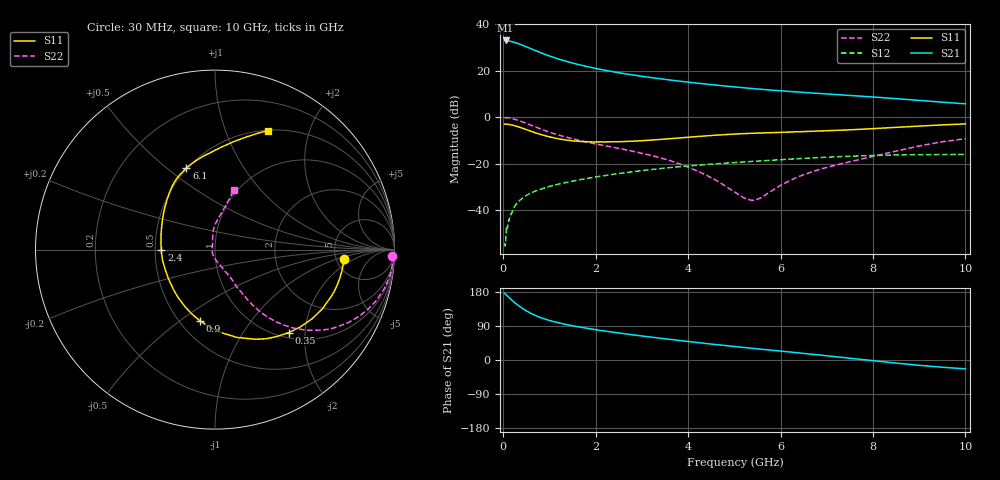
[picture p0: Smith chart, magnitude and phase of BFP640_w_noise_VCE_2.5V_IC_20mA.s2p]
! Infineon Technologies  Discrete & RF Semiconductors
! BFP640
! VCE =  2.5 V,  IC =  20 mA
! Common Emitter S-Parameters:  Apr 2013
# GHz  S  MA  R  50
!  f  S11  S21  S12  S22
! GHz  MAG  ANG  MAG  ANG  MAG  ANG  MAG  ANG
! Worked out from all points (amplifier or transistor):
!   99 points, 30 MHz to 10 GHz, reference 50 ohm
!   highest |S21| = 33.1 dB at 50 MHz (marker M1)
!   |S21| within 3 dB of that: start of sweep to 533.5 MHz
!   unconditionally stable (mu >= 1): 2.75 GHz to end of sweep
!   at 350 MHz: K = 0.27, MSG = 33.7 dB, |S12| = -35.8 dB
!   at 3.5 GHz: K = 1.04, MAG = 17.9 dB, |S12| = -21.8 dB
!   at 10 GHz: K = 1.07, MAG = 9.3 dB, |S12| = -15.9 dB
!   lowest NFmin = 0.85 dB at 450 MHz
!   S11 on the Smith chart (normalised r, x): 30 MHz: 5.91, -1.24; 350 MHz: 1.10, -1.65; 900 MHz: 0.63, -0.60; 2.4 GHz: 0.54, +0.00; 6.1 GHz: 0.49, +0.59; 10 GHz: 0.51, +1.41
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0.03  0.7215 -4.0  45.28 175.7  0.002 89.7  0.9881 -2.0
0.05  0.7179 -7.3  45.35 173.7  0.0018 64.5  0.9879 -4.2
0.11  0.7091 -16.0  44.48 166.6  0.0053 82.8  0.981 -9.7
0.2  0.6833 -28.8  42.45 156.6  0.0096 78.2  0.9418 -17.6
0.3  0.6412 -42.2  39.63 146.4  0.0143 72.8  0.8807 -25.2
0.35  0.6191 -48.3  37.95 141.8  0.0162 71.3  0.8477 -28.6
0.45  0.5735 -60.0  34.69 133.5  0.0195 67.6  0.7808 -34.5
0.6  0.5049 -75.8  30.12 123.0  0.0238 62.8  0.6797 -41.4
0.7  0.4657 -85.2  27.39 117.3  0.0262 60.9  0.6222 -44.8
0.8  0.4335 -93.8  24.96 112.4  0.0283 59.2  0.5699 -47.6
0.9  0.4057 -101.8  22.88 108.2  0.0306 58.0  0.5238 -49.9
1  0.3821 -109.4  21.04 104.4  0.0329 57.2  0.483 -51.8
1.2  0.3464 -122.9  18.04 98.0  0.0368 55.7  0.4188 -54.4
1.4  0.3233 -134.8  15.74 92.7  0.0406 54.7  0.3695 -56.0
1.7  0.303 -150.8  13.2 85.9  0.0466 53.1  0.3128 -57.3
2.4  0.2988 179.9  9.545 73.0  0.0603 49.1  0.2259 -60.0
3.4  0.337 150.3  6.793 57.5  0.0795 42.3  0.1354 -64.9
5.1  0.4434 119.8  4.449 34.4  0.1087 28.5  0.0217 -134.3
6.1  0.4822 109.3  3.685 22.3  0.1251 20.5  0.0387 110.5
6.7  0.505 102.5  3.353 14.9  0.1347 15.1  0.0689 100.6
8.5  0.6123 79.9  2.541 -8.2  0.1562 -2.6  0.1889 82.1
10  0.725 66.1  1.965 -23.3  0.1602 -14.4  0.3483 72.7
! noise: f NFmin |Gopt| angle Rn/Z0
0.45  0.85  0.13  6  0.02
0.9  0.85  0.13  14  0.03
1.5  0.88  0.1  26  0.04
1.9  0.9  0.14  -134  0.05
2.4  0.94  0.19  -119  0.06
3.5  1.06  0.24  -104  0.08
5.5  1.25  0.25  -96  0.15
10  1.74  0.58  -55  0.46
